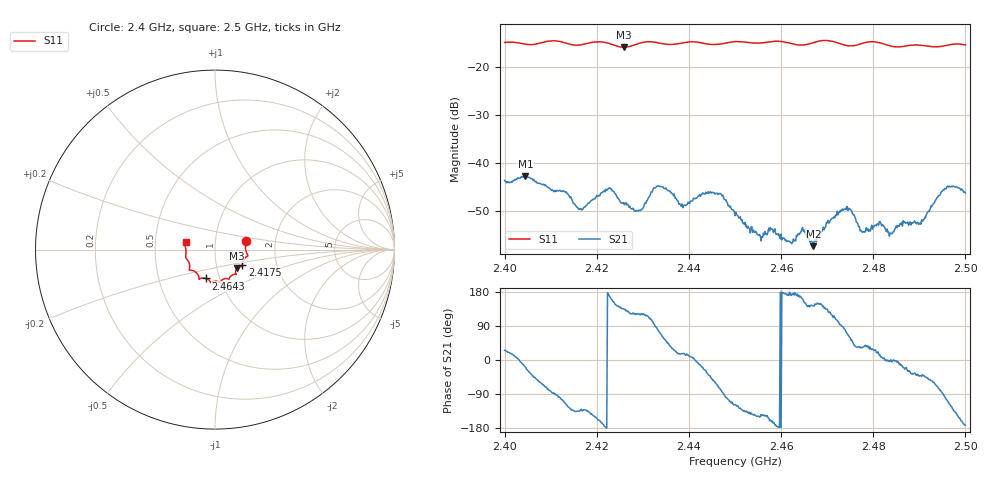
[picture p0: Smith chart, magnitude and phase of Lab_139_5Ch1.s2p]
# Hz S RI R 50
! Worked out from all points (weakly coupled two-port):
!   601 points, 2.4 GHz to 2.5 GHz, reference 50 ohm
!   highest |S21| = -42.84 dB at 2.4045 GHz (marker M1); lowest = -57.4 dB at 2.467 GHz (marker M2)
!   lowest |S11| = -15.9 dB at 2.4258 GHz (marker M3), VSWR 1.38, Z = 62.3 - j13.2 ohm
!   |S11| at or under -10 dB: start of sweep to end of sweep
!   S12 and S22 are empty: the file has one direction only
!   S11 on the Smith chart (normalised r, x): 2.4 GHz: 1.41, +0.14; 2.4175 GHz: 1.34, -0.23; 2.4643 GHz: 0.86, -0.29; 2.5 GHz: 0.72, +0.06
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2.4e9  0.1728 0.0488  0.00589 0.00283  0 0  0 0
2.4045e9  0.1709 0.0197  0.00684 -0.00228  0 0  0 0
2.416667e9  0.153 -0.074  -0.00211 -0.00252  0 0  0 0
2.4175e9  0.1519 -0.0835  -0.00231 -0.00258  0 0  0 0
2.422667e9  0.1478 -0.0943  -0.00533 0.000889  0 0  0 0
2.425833e9  0.1218 -0.1034  -0.00271 0.00273  0 0  0 0
2.4295e9  0.1162 -0.134  -0.00156 0.00276  0 0  0 0
2.433333e9  0.1132 -0.1371  0.00112 0.00562  0 0  0 0
2.438833e9  0.0804 -0.1588  0.00344 0.00107  0 0  0 0
2.4465e9  0.044 -0.1663  0.00139 -0.00453  0 0  0 0
2.45e9  0.029 -0.1809  -0.00128 -0.0025  0 0  0 0
2.4555e9  -0.00233 -0.1773  -0.00148 -0.000866  0 0  0 0
2.462e9  -0.0301 -0.1728  -0.00148 0.000116  0 0  0 0
2.464333e9  -0.0499 -0.161  -0.00184 0.000452  0 0  0 0
2.466667e9  -0.0759 -0.1592  -0.00122 0.000882  0 0  0 0
2.467e9  -0.0788 -0.16  -0.00107 0.000817  0 0  0 0
2.473833e9  -0.0962 -0.1383  0.000495 0.00322  0 0  0 0
2.477667e9  -0.1327 -0.1154  0.00157 0.00103  0 0  0 0
2.483333e9  -0.1408 -0.0901  0.00189 -3.63e-05  0 0  0 0
2.490333e9  -0.1631 -0.0386  0.00172 -0.0015  0 0  0 0
2.496e9  -0.1665 0.0197  -0.00152 -0.0054  0 0  0 0
2.5e9  -0.1637 0.0428  -0.00479 -0.000639  0 0  0 0
